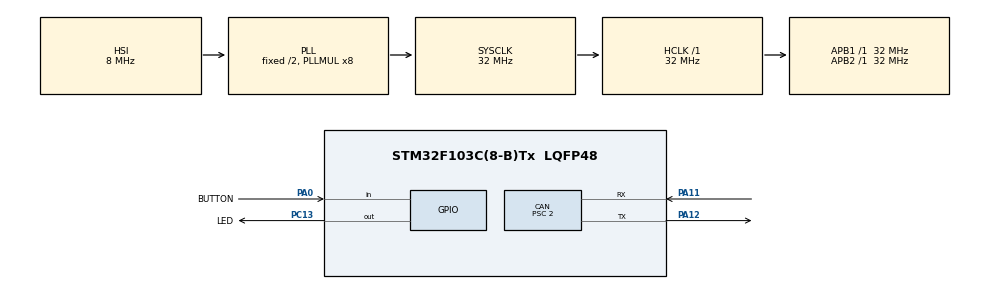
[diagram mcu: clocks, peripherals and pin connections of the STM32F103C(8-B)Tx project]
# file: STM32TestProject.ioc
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CAN.BS1=CAN_BS1_13TQ
CAN.BS2=CAN_BS2_2TQ
CAN.CalculateBaudRate=1000000
CAN.CalculateTimeBit=1000.00
CAN.CalculateTimeQuantum=62.5
CAN.Prescaler=2
FREERTOS.HEAP_NUMBER=4
FREERTOS.Tasks01=defaultTask,24,128,StartDefaultTask,Default,NULL,Dynamic,NULL,NULL;aux,8,128,auxTask,Default,NULL,Dynamic,NULL,NULL
FREERTOS.configTOTAL_HEAP_SIZE=5000
Mcu.Family=STM32F1
Mcu.Name=STM32F103C(8-B)Tx
Mcu.Package=LQFP48
NVIC.PriorityGroup=NVIC_PRIORITYGROUP_4
NVIC.TIM4_IRQn=true\:0\:0\:false\:false\:true\:false\:false\:true
NVIC.TimeBase=TIM4_IRQn
NVIC.TimeBaseIP=TIM4
NVIC.USB_LP_CAN1_RX0_IRQn=true\:5\:0\:false\:false\:true\:true\:true\:true
PA0-WKUP.GPIO_Label=BUTTON
PA0-WKUP.GPIO_PuPd=GPIO_PULLUP
PA0-WKUP.Signal=GPIO_Input
PA11.Mode=CAN_Activate
PA11.Signal=CAN_RX
PA12.Mode=CAN_Activate
PA12.Signal=CAN_TX
PA13.Mode=Serial_Wire
PA13.Signal=SYS_JTMS-SWDIO
PA14.Mode=Serial_Wire
PA14.Signal=SYS_JTCK-SWCLK
PC13-TAMPER-RTC.GPIO_Label=LED
PC13-TAMPER-RTC.Signal=GPIO_Output
PC14-OSC32_IN.Mode=LSE-External-Oscillator
PC14-OSC32_IN.Signal=RCC_OSC32_IN
PC15-OSC32_OUT.Mode=LSE-External-Oscillator
PC15-OSC32_OUT.Signal=RCC_OSC32_OUT
ProjectManager.HeapSize=0x200
ProjectManager.StackSize=0x400
ProjectManager.TargetToolchain=STM32CubeIDE
RCC.AHBFreq_Value=32000000
RCC.APB1Freq_Value=32000000
RCC.APB1TimFreq_Value=32000000
RCC.APB2Freq_Value=32000000
RCC.APB2TimFreq_Value=32000000
RCC.HCLKFreq_Value=32000000
RCC.PLLMUL=RCC_PLL_MUL8
RCC.SYSCLKFreq_VALUE=32000000
RCC.SYSCLKSource=RCC_SYSCLKSOURCE_PLLCLK
RCC.USBFreq_Value=32000000
VP_FREERTOS_VS_CMSIS_V2.Mode=CMSIS_V2
VP_SYS_VS_tim4.Mode=TIM4
board=custom

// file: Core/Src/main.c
/* USER CODE BEGIN Header */
/**
  ******************************************************************************
  * @file           : main.c
  * @brief          : Main program body
  ******************************************************************************
  * @attention
  *
  * <h2><center>&copy; Copyright (c) 2021 STMicroelectronics.
  * All rights reserved.</center></h2>
  *
  * This software component is licensed by ST under BSD 3-Clause license,
  * the "License"; You may not use this file except in compliance with the
  * License. You may obtain a copy of the License at:
  *                        opensource.org/licenses/BSD-3-Clause
  *
  ******************************************************************************
  */
/* USER CODE END Header */
#include "main.h"
#include "cmsis_os.h"
#include "can.h"
#include "gpio.h"

void SystemClock_Config(void);
void MX_FREERTOS_Init(void);

int main(void)
{

  /* MCU Configuration--------------------------------------------------------*/

  /* Reset of all peripherals, Initializes the Flash interface and the Systick. */
  HAL_Init();

  /* Configure the system clock */
  SystemClock_Config();

  /* Initialize all configured peripherals */
  MX_GPIO_Init();
  MX_CAN_Init();
  /* USER CODE BEGIN 2 */
  InitCAN1(&hcan);
  /* USER CODE END 2 */

  /* Init scheduler */
  osKernelInitialize();  /* Call init function for freertos objects (in freertos.c) */
  MX_FREERTOS_Init();
  /* Start scheduler */
  osKernelStart();

  /* We should never get here as control is now taken by the scheduler */
  /* Infinite loop */
  while (1)
  {

  }
}

void SystemClock_Config(void)
{
  RCC_OscInitTypeDef RCC_OscInitStruct = {0};
  RCC_ClkInitTypeDef RCC_ClkInitStruct = {0};

  /** Initializes the RCC Oscillators according to the specified parameters
  * in the RCC_OscInitTypeDef structure.
  */
  RCC_OscInitStruct.OscillatorType = RCC_OSCILLATORTYPE_HSI;
  RCC_OscInitStruct.HSIState = RCC_HSI_ON;
  RCC_OscInitStruct.HSICalibrationValue = RCC_HSICALIBRATION_DEFAULT;
  RCC_OscInitStruct.PLL.PLLState = RCC_PLL_ON;
  RCC_OscInitStruct.PLL.PLLSource = RCC_PLLSOURCE_HSI_DIV2;
  RCC_OscInitStruct.PLL.PLLMUL = RCC_PLL_MUL8;
  if (HAL_RCC_OscConfig(&RCC_OscInitStruct) != HAL_OK)
  {
    Error_Handler();
  }
  /** Initializes the CPU, AHB and APB buses clocks
  */
  RCC_ClkInitStruct.ClockType = RCC_CLOCKTYPE_HCLK|RCC_CLOCKTYPE_SYSCLK
                              |RCC_CLOCKTYPE_PCLK1|RCC_CLOCKTYPE_PCLK2;
  RCC_ClkInitStruct.SYSCLKSource = RCC_SYSCLKSOURCE_PLLCLK;
  RCC_ClkInitStruct.AHBCLKDivider = RCC_SYSCLK_DIV1;
  RCC_ClkInitStruct.APB1CLKDivider = RCC_HCLK_DIV1;
  RCC_ClkInitStruct.APB2CLKDivider = RCC_HCLK_DIV1;

  if (HAL_RCC_ClockConfig(&RCC_ClkInitStruct, FLASH_LATENCY_1) != HAL_OK)
  {
    Error_Handler();
  }
}

 /**
  * @brief  Period elapsed callback in non blocking mode
  * @note   This function is called  when TIM4 interrupt took place, inside
  * HAL_TIM_IRQHandler(). It makes a direct call to HAL_IncTick() to increment
  * a global variable "uwTick" used as application time base.
  * @param  htim : TIM handle
  * @retval None
  */
void HAL_TIM_PeriodElapsedCallback(TIM_HandleTypeDef *htim)
{
  if (htim->Instance == TIM4) {
    HAL_IncTick();
  }
}

void Error_Handler(void)
{
  __disable_irq();
  while (1)
  {
  }
}

/************************ (C) COPYRIGHT STMicroelectronics *****END OF FILE****/

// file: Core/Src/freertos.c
/* USER CODE BEGIN Header */
/**
  ******************************************************************************
  * File Name          : freertos.c
  * Description        : Code for freertos applications
  ******************************************************************************
  * @attention
  *
  * <h2><center>&copy; Copyright (c) 2021 STMicroelectronics.
  * All rights reserved.</center></h2>
  *
  * This software component is licensed by ST under Ultimate Liberty license
  * SLA0044, the "License"; You may not use this file except in compliance with
  * the License. You may obtain a copy of the License at:
  *                             www.st.com/SLA0044
  *
  ******************************************************************************
  */
/* USER CODE END Header */

#include "FreeRTOS.h"
#include "task.h"
#include "main.h"
#include "cmsis_os.h"

/* USER CODE BEGIN Includes */
#include "cantataCAN1.h"

/* USER CODE END Includes */

/* Definitions for defaultTask */
osThreadId_t defaultTaskHandle;
const osThreadAttr_t defaultTask_attributes = {
  .name = "defaultTask",
  .priority = (osPriority_t) osPriorityNormal,
  .stack_size = 128 * 4
};
/* Definitions for aux */
osThreadId_t auxHandle;
const osThreadAttr_t aux_attributes = {
  .name = "aux",
  .priority = (osPriority_t) osPriorityLow,
  .stack_size = 128 * 4
};

void StartDefaultTask(void *argument);
void auxTask(void *argument);

void MX_FREERTOS_Init(void); /* (MISRA C 2004 rule 8.1) */

void MX_FREERTOS_Init(void) {

  /* Create the thread(s) */
  /* creation of defaultTask */
  defaultTaskHandle = osThreadNew(StartDefaultTask, NULL, &defaultTask_attributes);

  /* creation of aux */
  auxHandle = osThreadNew(auxTask, NULL, &aux_attributes);

}

/* USER CODE BEGIN Header_StartDefaultTask */
/**
  * @brief  Function implementing the defaultTask thread.
  * @param  argument: Not used
  * @retval None
  */

enum{
	Off,
	Cyclic,
	OnWrite,
	OnWriteWithRepetitions,
	OnChange,
	OnChangeWithRepetitions,
	IfActive,
	IfActiveWithRepetitions,
	TransmitTesting,
	ReceiveTesting,
} InteractionLayerDemo;

extern TaskHandle_t vTaskInteractionLayer_CAN1_cyclic_1000ms_Handle;

void on_receive_MultiplexExample(){
	HAL_GPIO_TogglePin(LED_GPIO_Port, LED_Pin);
}

/* USER CODE END Header_StartDefaultTask */

void StartDefaultTask(void *argument)
{
  /* USER CODE BEGIN StartDefaultTask */
	GPIO_PinState button_last;
	GPIO_PinState button = button = HAL_GPIO_ReadPin(BUTTON_GPIO_Port, BUTTON_Pin);;
	bool error = false;
	uint64_t expectedmsg;

	InteractionLayerDemo = ReceiveTesting; // Change to try the different modes

	if(InteractionLayerDemo != Cyclic){
		// for simplicity lets disable the cyclic task
		vTaskSuspend(vTaskInteractionLayer_CAN1_cyclic_1000ms_Handle);
	}

	CAN1_MultiplexExample.on_receive = &on_receive_MultiplexExample;

  /* Infinite loop */
  for(;;)
  {

    vTaskDelay(pdMS_TO_TICKS(100));
    HAL_GPIO_TogglePin(LED_GPIO_Port, LED_Pin);
    button_last = button;
    button = HAL_GPIO_ReadPin(BUTTON_GPIO_Port, BUTTON_Pin);

    switch (InteractionLayerDemo) {
    	case Cyclic:
    		CAN1sig_SleepInd.setValue(1);
    		break;
		case OnWrite:
			if(button != button_last){
				CAN1sig_EngSpeed.setValue(1);
			}
			break;
		case OnWriteWithRepetitions:
			if(button != button_last){
				CAN1sig_EngTemp.setValue(1);
			}
			break;
		case OnChange:
			CAN1sig_IdleRunning.setValue(button);
			break;
		case OnChangeWithRepetitions:
			CAN1sig_AccelerationForce.setValue(button);
			break;
		case IfActive:
			if(button){
				CAN1sig_ExSignal9.setValue(CAN1sig_ExSignal9.inactiveValue);
			}else{
				CAN1sig_ExSignal9.setValue(1);
			}
			break;
		case IfActiveWithRepetitions:
			if(button){
				CAN1sig_ErrorCode.setValue(CAN1sig_ExSignal9.inactiveValue);
			}else{
				CAN1sig_ErrorCode.setValue(1);
			}
			break;

		case TransmitTesting:
			error = false;

			//// ABSData
			CAN1sig_AccelerationForce.setValue(48009);
			CAN1sig_Diagnostics.setValue(138);
			CAN1sig_GearLock.setValue(0);
			CAN1sig_CarSpeed.setValue(115);

			expectedmsg = 0x0000e299008a00e6;
			CAN1_ABSdata.send();

			if (memcmp ( &expectedmsg, CAN1_ABSdata.raw.bytes, sizeof(CAN1_ABSdata.raw.bytes)) != 0){
				error = true;
			}

			CAN1sig_AccelerationForce.setValue(-4215);
			CAN1sig_Diagnostics.setValue(167);
			CAN1sig_GearLock.setValue(1);
			CAN1sig_CarSpeed.setValue(239);

			expectedmsg = 0x0000169900a705de;
			CAN1_ABSdata.send();
			if (memcmp ( &expectedmsg, CAN1_ABSdata.raw.bytes, sizeof(CAN1_ABSdata.raw.bytes)) != 0){
				error = true;
			}

			//// EngineData
			CAN1sig_EngSpeed.setValue(57288);
			CAN1sig_EngTemp.setValue(-13);
			CAN1sig_IdleRunning.setValue(0);
			CAN1sig_EngForce.setValue(12898);
			CAN1sig_EngPower.setValue(216);
			CAN1sig_PetrolLevel.setValue(217);

			expectedmsg = 0x54603262d912dfc8;
			CAN1_EngineData.send();

			if (memcmp ( &expectedmsg, CAN1_EngineData.raw.bytes, sizeof(CAN1_EngineData.raw.bytes)) != 0){
				error = true;
			}

			CAN1sig_EngSpeed.setValue(31189);
			CAN1sig_EngTemp.setValue(27);
			CAN1sig_IdleRunning.setValue(1);
			CAN1sig_EngForce.setValue(42039);
			CAN1sig_EngPower.setValue(375);
			CAN1sig_PetrolLevel.setValue(56);

			expectedmsg = 0x927ca43738a679d5;
			CAN1_EngineData.send();
			if (memcmp ( &expectedmsg, CAN1_EngineData.raw.bytes, sizeof(CAN1_EngineData.raw.bytes)) != 0){
				error = true;
			}

			//// EngineStatus
			CAN1sig_Status.setValue(2);
			CAN1sig_ErrorCode.setValue(32);

			expectedmsg = 0x0000000000000082;
			CAN1_EngineStatus.send();

			if (memcmp ( &expectedmsg, CAN1_EngineStatus.raw.bytes, sizeof(CAN1_EngineStatus.raw.bytes)) != 0){
				error = true;
			}

			CAN1sig_Status.setValue(0);
			CAN1sig_ErrorCode.setValue(29);

			expectedmsg = 0x0000000000000074;
			CAN1_EngineStatus.send();
			if (memcmp ( &expectedmsg, CAN1_EngineStatus.raw.bytes, sizeof(CAN1_EngineStatus.raw.bytes)) != 0){
				error = true;
			}

			//// GearboxInfo
			CAN1sig_Gear.setValue(6);
			CAN1sig_ShiftRequest.setValue(0);
			CAN1sig_EcoMode.setValue(1);
			CAN1sig_GearLock.setValue(0);

			expectedmsg = 0x0000000000000043;
			CAN1_GearBoxInfo.send();
			if (memcmp ( &expectedmsg, CAN1_GearBoxInfo.raw.bytes, sizeof(CAN1_GearBoxInfo.raw.bytes)) != 0){
				error = true;
			}

			CAN1sig_Gear.setValue(1);
			CAN1sig_ShiftRequest.setValue(0);
			CAN1sig_EcoMode.setValue(1);
			CAN1sig_GearLock.setValue(0);

			expectedmsg = 0x0000000000000044;
			CAN1_GearBoxInfo.send();
			if (memcmp ( &expectedmsg, CAN1_GearBoxInfo.raw.bytes, sizeof(CAN1_GearBoxInfo.raw.bytes)) != 0){
				error = true;
			}

			CAN1sig_Gear.setValue(3);
			CAN1sig_ShiftRequest.setValue(0);
			CAN1sig_EcoMode.setValue(1);
			CAN1sig_GearLock.setValue(0);

			expectedmsg = 0x0000000000000046;
			CAN1_GearBoxInfo.send();
			if (memcmp ( &expectedmsg, CAN1_GearBoxInfo.raw.bytes, sizeof(CAN1_GearBoxInfo.raw.bytes)) != 0){
				error = true;
			}

			CAN1sig_Gear.setValue(3);
			CAN1sig_ShiftRequest.setValue(1);
			CAN1sig_EcoMode.setValue(0);
			CAN1sig_GearLock.setValue(1);

			expectedmsg = 0x0000000000000036;
			CAN1_GearBoxInfo.send();
			if (memcmp ( &expectedmsg, CAN1_GearBoxInfo.raw.bytes, sizeof(CAN1_GearBoxInfo.raw.bytes)) != 0){
				error = true;
			}

			//// MultiplexExample2
			CAN1sig_ExSignal7.setValue(0);
			CAN1sig_ExSignal8.setValue(0);
			CAN1sig_ExSignal9.setValue(37);

			expectedmsg = 0x0000000000250000;
			CAN1_MultiplexExample2.send();
			if (memcmp ( &expectedmsg, CAN1_MultiplexExample2.raw.bytes, sizeof(CAN1_MultiplexExample2.raw.bytes)) != 0){
				error = true;
			}

			CAN1sig_ExSignal7.setValue(1);
			CAN1sig_ExSignal8.setValue(0);
			CAN1sig_ExSignal9.setValue(0);

			expectedmsg = 0x0000000000000001;
			CAN1_MultiplexExample2.send();
			if (memcmp ( &expectedmsg, CAN1_MultiplexExample2.raw.bytes, sizeof(CAN1_MultiplexExample2.raw.bytes)) != 0){
				error = true;
			}

			//// NM_Engine
			CAN1sig_SleepInd.setValue(0);

			expectedmsg = 0x0000000000000000;
			CAN1_NM_Engine.send();
			if (memcmp ( &expectedmsg, CAN1_NM_Engine.raw.bytes, sizeof(CAN1_NM_Engine.raw.bytes)) != 0){
				error = true;
			}

			CAN1sig_SleepInd.setValue(1);

			expectedmsg = 0x0000000000001000;
			CAN1_NM_Engine.send();
			if (memcmp ( &expectedmsg, CAN1_NM_Engine.raw.bytes, sizeof(CAN1_NM_Engine.raw.bytes)) != 0){
				error = true;
			}

			//// FloatExample

			CAN1sig_SingleExample.setValue(1234.1234);
			CAN1sig_SingleExample2.setValue(4321.4312);

			expectedmsg = 0xced0e1a2cfc25922;
			CAN1_FloatExample.send();

			if (memcmp ( &expectedmsg, CAN1_FloatExample.raw.bytes, sizeof(CAN1_FloatExample.raw.bytes)) != 0){
				error = true;
			}

			//// FloatExample2
			CAN1sig_DoubleExample.setValue(4567.4567);

			expectedmsg = 0x40b1d774ea4a8c15;
			CAN1_FloatExample2.send();

			if (memcmp ( &expectedmsg, CAN1_FloatExample2.raw.bytes, sizeof(CAN1_FloatExample2.raw.bytes)) != 0){
				error = true;
			}

			break;

		case ReceiveTesting:
			error = false;
			uint64_t testmsg;

			//// Ignition_Info
			testmsg = 0x0000000000001784;
			memcpy(CAN1_Ignition_Info.raw.bytes, &testmsg, sizeof CAN1_Ignition_Info.raw.bytes);
			CAN1_Ignition_Info.receive();

			error |= (CAN1sig_StarterKey.getValue() != 1);

			//CAN1_Ignition_Info.raw = 0x0000000000009d31;
			testmsg = 0x0000000000009d31;
			memcpy(CAN1_Ignition_Info.raw.bytes, &testmsg, sizeof CAN1_Ignition_Info.raw.bytes);
			CAN1_Ignition_Info.receive();

			error |= (CAN1sig_StarterKey.getValue() != 0);

			//// MultiplexExample
			//CAN1_MultiplexExample.raw = 0xe797a6e9c062d900;
			testmsg = 0xe797a6e9c062d900;
			memcpy(CAN1_MultiplexExample.raw.bytes, &testmsg, sizeof CAN1_MultiplexExample.raw.bytes);
			CAN1_MultiplexExample.receive();

			error |= (CAN1sig_EXSignal1.getValue() != 0);
			//error |= (CAN1sig_EXSignal5.getValue() != -23); Signal not declared as RX

			//CAN1_MultiplexExample.raw = 0xb1e1e4eb60af8201;
			testmsg = 0xb1e1e4eb60af8201;
			memcpy(CAN1_MultiplexExample.raw.bytes, &testmsg, sizeof CAN1_MultiplexExample.raw.bytes);
			CAN1_MultiplexExample.receive();

			error |= (CAN1sig_EXSignal1.getValue() != 1);

			//CAN1_MultiplexExample.raw = 0x7e0868676c2b0004;
			testmsg = 0x7e0868676c2b0004;
			memcpy(CAN1_MultiplexExample.raw.bytes, &testmsg, sizeof CAN1_MultiplexExample.raw.bytes);
			CAN1_MultiplexExample.receive();

			error |= (CAN1sig_EXSignal1.getValue() != 4);
			error |= (CAN1sig_EXSignal2.getValue() != 0);
			error |= (CAN1sig_EXSignal3.getValue() != 43);
			error |= (CAN1sig_EXSignal4.getValue() != 108);
			//error |= (CAN1sig_EXSignal6.getValue() != 104); Signal not declared as RX

			//CAN1_MultiplexExample.raw = 0xe74aa821e19e0104;
			testmsg = 0xe74aa821e19e0104;
			memcpy(CAN1_MultiplexExample.raw.bytes, &testmsg, sizeof CAN1_MultiplexExample.raw.bytes);
			CAN1_MultiplexExample.receive();

			error |= (CAN1sig_EXSignal1.getValue() != 4);
			error |= (CAN1sig_EXSignal2.getValue() != 1);
			error |= (CAN1sig_EXSignal3.getValue() != -98);

			break;

		default:
			break;

	}

  }
  /* USER CODE END StartDefaultTask */
}

void auxTask(void *argument)
{
  /* USER CODE BEGIN auxTask */
  /* Infinite loop */
  for(;;)
  {
	  xTaskNotifyWait( 0,     //ulBitsToClearOnEntry
			  	  	  	  0,     //ulBitsToClearOnExit
	                           NULL,  //*pulNotificationValue
	                           portMAX_DELAY );
	  //HAL_GPIO_TogglePin(LED_GPIO_Port, LED_Pin);
  }
  /* USER CODE END auxTask */
}

/************************ (C) COPYRIGHT STMicroelectronics *****END OF FILE****/
